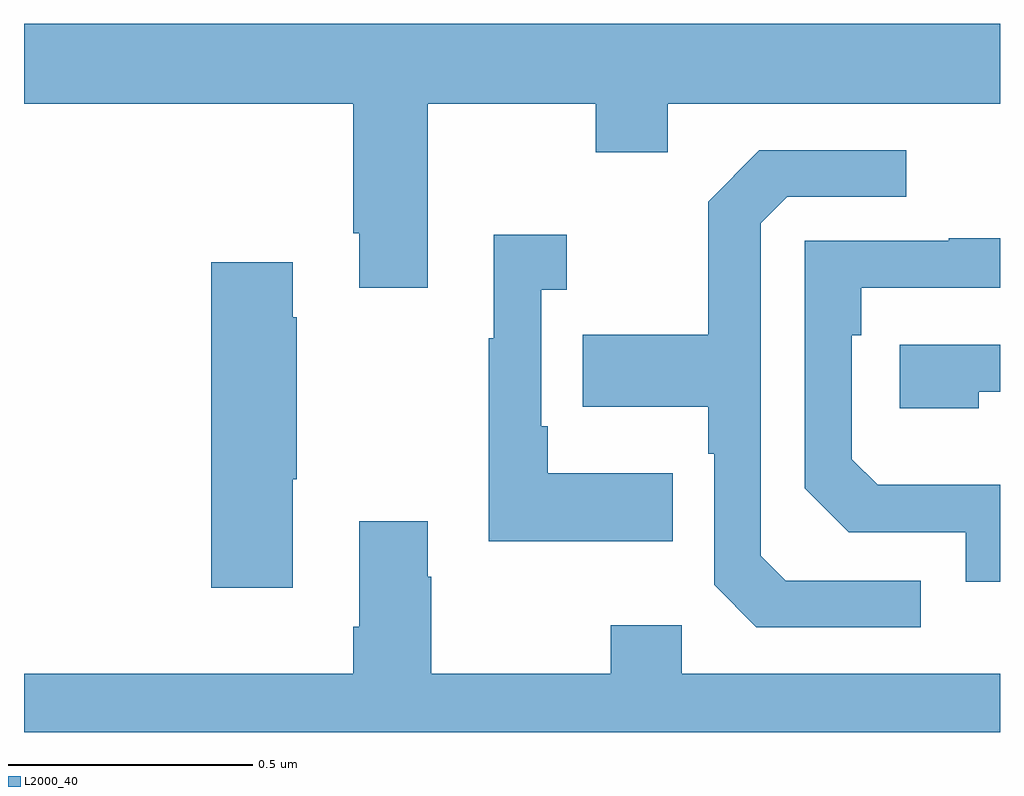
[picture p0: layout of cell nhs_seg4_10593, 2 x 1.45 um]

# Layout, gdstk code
import gdstk
lib = gdstk.Library(unit=1e-6, precision=1e-09)
def P(c, l, *ps):  # polygons
    for p in ps: c.add(gdstk.Polygon(p, *l))
L2000_40 = (2000, 40)

nhs_seg4_10593 = lib.new_cell('nhs_seg4_10593')
P(nhs_seg4_10593, L2000_40, [(242.827,762.188),(243.172,762.188),(243.172,762.089),(243.319,762.089),(243.319,762.188),(244,762.188),(244,762.352),(242,762.352),(242,762.188),(242.675,762.188),(242.675,761.923),(242.687,761.923),(242.687,761.811),(242.827,761.811)],
  [(243.838,761.211),(243.561,761.211),(243.51,761.262),(243.51,761.943),(243.564,761.997),(243.808,761.997),(243.808,762.093),(243.507,762.093),(243.402,761.987),(243.402,761.715),(243.145,761.715),(243.145,761.567),(243.402,761.567),(243.402,761.471),(243.414,761.471),(243.414,761.202),(243.501,761.115),(243.838,761.115)],
  [(243.329,761.431),(243.073,761.431),(243.073,761.527),(243.06,761.527),(243.06,761.807),(243.112,761.807),(243.112,761.92),(242.963,761.92),(242.963,761.707),(242.952,761.707),(242.952,761.291),(243.329,761.291)],
  [(244,761.407),(243.749,761.407),(243.696,761.46),(243.696,761.714),(243.716,761.714),(243.716,761.811),(244,761.811),(244,761.912),(243.895,761.912),(243.895,761.907),(243.6,761.907),(243.6,761.4),(243.69,761.31),(243.93,761.31),(243.93,761.208),(244,761.208)],
  [(242.551,761.419),(242.559,761.419),(242.559,761.75),(242.551,761.75),(242.551,761.863),(242.384,761.863),(242.384,761.196),(242.551,761.196)],
  [(243.956,761.598),(244,761.598),(244,761.694),(243.795,761.694),(243.795,761.564),(243.956,761.564)],
  [(244,761.02),(243.348,761.02),(243.348,761.119),(243.202,761.119),(243.202,761.02),(242.835,761.02),(242.835,761.219),(242.827,761.219),(242.827,761.332),(242.687,761.332),(242.687,761.116),(242.675,761.116),(242.675,761.02),(242,761.02),(242,760.9),(244,760.9)])

lib.write_gds('nhs_seg4_10593.gds')
